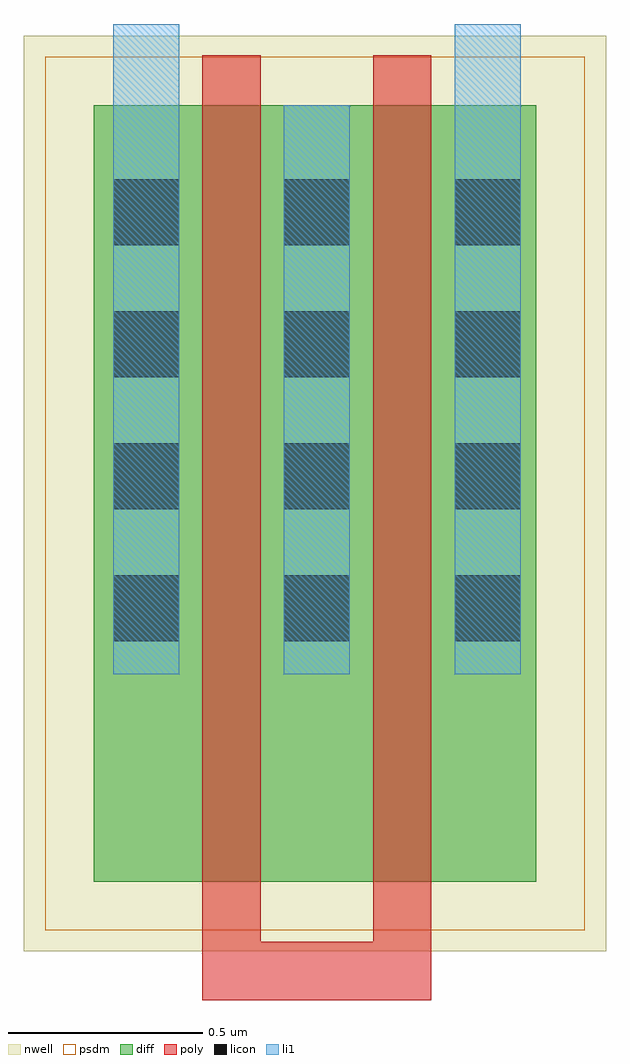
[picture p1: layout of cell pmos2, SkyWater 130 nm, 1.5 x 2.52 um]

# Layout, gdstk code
import gdstk
lib = gdstk.Library(unit=1e-6, precision=1e-09)
def R(c, l, rs):  # rectangles x0, y0, x1, y1
    for r in rs: c.add(gdstk.rectangle(r[:2], r[2:], *l))
nwell = (64, 20)
diff = (65, 20)
poly = (66, 20)
licon = (66, 44)
li1 = (67, 20)
psdm = (94, 20)

pmos2 = lib.new_cell('pmos2')
R(pmos2, nwell, [(0.26,-2.18,1.76,0.18), (0.26,-2.18,1.76,0.18), (0.26,-2.18,1.76,0.18), (0.26,-2.18,1.76,0.18), (0.26,-2.18,1.76,0.18), (0.26,-2.18,1.76,0.18), (0.26,-2.18,1.76,0.18), (0.26,-2.18,1.76,0.18), (0.26,-2.18,1.76,0.18), (0.26,-2.18,1.76,0.18), (0.26,-2.18,1.76,0.18), (0.26,-2.18,1.76,0.18), (0.26,-2.18,1.76,0.18), (0.26,-2.18,1.76,0.18), (0.26,-2.18,1.76,0.18), (0.26,-2.18,1.76,0.18), (0.26,-2.18,1.76,0.18), (0.26,-2.18,1.76,0.18), (0.26,-2.18,1.76,0.18), (0.26,-2.18,1.76,0.18), (0.26,-2.18,1.76,0.18), (0.26,-2.18,1.76,0.18), (0.26,-2.18,1.76,0.18), (0.26,-2.18,1.76,0.18), (0.26,-2.18,1.76,0.18), (0.26,-2.18,1.76,0.18), (0.26,-2.18,1.76,0.18), (0.26,-2.18,1.76,0.18), (0.26,-2.18,1.76,0.18), (0.26,-2.18,1.76,0.18), (0.26,-2.18,1.76,0.18), (0.26,-2.18,1.76,0.18), (0.26,-2.18,1.76,0.18), (0.26,-2.18,1.76,0.18), (0.26,-2.18,1.76,0.18), (0.26,-2.18,1.76,0.18), (0.26,-2.18,1.76,0.18), (0.26,-2.18,1.76,0.18), (0.26,-2.18,1.76,0.18), (0.26,-2.18,1.76,0.18), (0.26,-2.18,1.76,0.18), (0.26,-2.18,1.76,0.18), (0.26,-2.18,1.76,0.18), (0.26,-2.18,1.76,0.18), (0.26,-2.18,1.76,0.18), (0.26,-2.18,1.76,0.18), (0.26,-2.18,1.76,0.18), (0.26,-2.18,1.76,0.18), (0.26,-2.18,1.76,0.18), (0.26,-2.18,1.76,0.18), (0.26,-2.18,1.76,0.18), (0.26,-2.18,1.76,0.18), (0.26,-2.18,1.76,0.18), (0.26,-2.18,1.76,0.18), (0.26,-2.18,1.76,0.18), (0.26,-2.18,1.76,0.18), (0.26,-2.18,1.76,0.18), (0.26,-2.18,1.76,0.18), (0.26,-2.18,1.76,0.18), (0.26,-2.18,1.76,0.18), (0.26,-2.18,1.76,0.18), (0.26,-2.18,1.76,0.18), (0.26,-2.18,1.76,0.18)])
R(pmos2, diff, [(0.44,-2,1.58,0), (0.44,-2,1.58,0), (0.44,-2,1.58,0), (0.44,-2,1.58,0), (0.44,-2,1.58,0), (0.44,-2,1.58,0), (0.44,-2,1.58,0), (0.44,-2,1.58,0), (0.44,-2,1.58,0), (0.44,-2,1.58,0), (0.44,-2,1.58,0), (0.44,-2,1.58,0), (0.44,-2,1.58,0), (0.44,-2,1.58,0), (0.44,-2,1.58,0), (0.44,-2,1.58,0), (0.44,-2,1.58,0), (0.44,-2,1.58,0), (0.44,-2,1.58,0), (0.44,-2,1.58,0), (0.44,-2,1.58,0), (0.44,-2,1.58,0), (0.44,-2,1.58,0), (0.44,-2,1.58,0), (0.44,-2,1.58,0), (0.44,-2,1.58,0), (0.44,-2,1.58,0), (0.44,-2,1.58,0), (0.44,-2,1.58,0), (0.44,-2,1.58,0), (0.44,-2,1.58,0), (0.44,-2,1.58,0), (0.44,-2,1.58,0), (0.44,-2,1.58,0), (0.44,-2,1.58,0), (0.44,-2,1.58,0), (0.44,-2,1.58,0), (0.44,-2,1.58,0), (0.44,-2,1.58,0), (0.44,-2,1.58,0), (0.44,-2,1.58,0), (0.44,-2,1.58,0), (0.44,-2,1.58,0), (0.44,-2,1.58,0), (0.44,-2,1.58,0), (0.44,-2,1.58,0), (0.44,-2,1.58,0), (0.44,-2,1.58,0), (0.44,-2,1.58,0), (0.44,-2,1.58,0), (0.44,-2,1.58,0), (0.44,-2,1.58,0), (0.44,-2,1.58,0), (0.44,-2,1.58,0), (0.44,-2,1.58,0), (0.44,-2,1.58,0), (0.44,-2,1.58,0), (0.44,-2,1.58,0), (0.44,-2,1.58,0), (0.44,-2,1.58,0), (0.44,-2,1.58,0), (0.44,-2,1.58,0), (0.44,-2,1.58,0)])
R(pmos2, poly, [(0.72,-2.305,1.31,-2.155), (0.72,-2.305,1.31,-2.155), (0.72,-2.305,1.31,-2.155), (0.72,-2.305,1.31,-2.155), (0.72,-2.305,1.31,-2.155), (0.72,-2.305,1.31,-2.155), (0.72,-2.305,1.31,-2.155), (0.72,-2.305,1.31,-2.155), (0.72,-2.305,1.31,-2.155), (0.72,-2.305,1.31,-2.155), (0.72,-2.305,1.31,-2.155), (0.72,-2.305,1.31,-2.155), (0.72,-2.305,1.31,-2.155), (0.72,-2.305,1.31,-2.155), (0.72,-2.305,1.31,-2.155), (0.72,-2.305,1.31,-2.155), (0.72,-2.305,1.31,-2.155), (0.72,-2.305,1.31,-2.155), (0.72,-2.305,1.31,-2.155), (0.72,-2.305,1.31,-2.155), (0.72,-2.305,1.31,-2.155), (0.72,-2.305,1.31,-2.155), (0.72,-2.305,1.31,-2.155), (0.72,-2.305,1.31,-2.155), (0.72,-2.305,1.31,-2.155), (0.72,-2.305,1.31,-2.155), (0.72,-2.305,1.31,-2.155), (0.72,-2.305,1.31,-2.155), (0.72,-2.305,1.31,-2.155), (0.72,-2.305,1.31,-2.155), (0.72,-2.305,1.31,-2.155), (0.72,-2.305,1.31,-2.155), (0.72,-2.305,1.31,-2.155), (0.72,-2.305,1.31,-2.155), (0.72,-2.305,1.31,-2.155), (0.72,-2.305,1.31,-2.155), (0.72,-2.305,1.31,-2.155), (0.72,-2.305,1.31,-2.155), (0.72,-2.305,1.31,-2.155), (0.72,-2.305,1.31,-2.155), (0.72,-2.305,1.31,-2.155), (0.72,-2.305,1.31,-2.155), (0.72,-2.305,1.31,-2.155), (0.72,-2.305,1.31,-2.155), (0.72,-2.305,1.31,-2.155), (0.72,-2.305,1.31,-2.155), (0.72,-2.305,1.31,-2.155), (0.72,-2.305,1.31,-2.155), (0.72,-2.305,1.31,-2.155), (0.72,-2.305,1.31,-2.155), (0.72,-2.305,1.31,-2.155), (0.72,-2.305,1.31,-2.155), (0.72,-2.305,1.31,-2.155), (0.72,-2.305,1.31,-2.155), (0.72,-2.305,1.31,-2.155), (0.72,-2.305,1.31,-2.155), (0.72,-2.305,1.31,-2.155), (0.72,-2.305,1.31,-2.155), (0.72,-2.305,1.31,-2.155), (0.72,-2.305,1.31,-2.155), (0.72,-2.305,1.31,-2.155), (0.72,-2.305,1.31,-2.155), (0.72,-2.305,1.31,-2.155), (0.72,-2.155,0.87,0.13), (0.72,-2.155,0.87,0.13), (0.72,-2.155,0.87,0.13), (0.72,-2.155,0.87,0.13), (0.72,-2.155,0.87,0.13), (0.72,-2.155,0.87,0.13), (0.72,-2.155,0.87,0.13), (0.72,-2.155,0.87,0.13), (0.72,-2.155,0.87,0.13), (0.72,-2.155,0.87,0.13), (0.72,-2.155,0.87,0.13), (0.72,-2.155,0.87,0.13), (0.72,-2.155,0.87,0.13), (0.72,-2.155,0.87,0.13), (0.72,-2.155,0.87,0.13), (0.72,-2.155,0.87,0.13), (0.72,-2.155,0.87,0.13), (0.72,-2.155,0.87,0.13), (0.72,-2.155,0.87,0.13), (0.72,-2.155,0.87,0.13), (0.72,-2.155,0.87,0.13), (0.72,-2.155,0.87,0.13), (0.72,-2.155,0.87,0.13), (0.72,-2.155,0.87,0.13), (0.72,-2.155,0.87,0.13), (0.72,-2.155,0.87,0.13), (0.72,-2.155,0.87,0.13), (0.72,-2.155,0.87,0.13), (0.72,-2.155,0.87,0.13), (0.72,-2.155,0.87,0.13), (0.72,-2.155,0.87,0.13), (0.72,-2.155,0.87,0.13), (0.72,-2.155,0.87,0.13), (0.72,-2.155,0.87,0.13), (0.72,-2.155,0.87,0.13), (0.72,-2.155,0.87,0.13), (0.72,-2.155,0.87,0.13), (0.72,-2.155,0.87,0.13), (0.72,-2.155,0.87,0.13), (0.72,-2.155,0.87,0.13), (0.72,-2.155,0.87,0.13), (0.72,-2.155,0.87,0.13), (0.72,-2.155,0.87,0.13), (0.72,-2.155,0.87,0.13), (0.72,-2.155,0.87,0.13), (0.72,-2.155,0.87,0.13), (0.72,-2.155,0.87,0.13), (0.72,-2.155,0.87,0.13), (0.72,-2.155,0.87,0.13), (0.72,-2.155,0.87,0.13), (0.72,-2.155,0.87,0.13), (0.72,-2.155,0.87,0.13), (0.72,-2.155,0.87,0.13), (0.72,-2.155,0.87,0.13), (0.72,-2.155,0.87,0.13), (0.72,-2.155,0.87,0.13), (0.72,-2.155,0.87,0.13), (0.72,-2.155,0.87,0.13), (0.72,-2.155,0.87,0.13), (0.72,-2.155,0.87,0.13), (0.72,-2.155,0.87,0.13), (0.72,-2.155,0.87,0.13), (0.72,-2.155,0.87,0.13), (1.16,-2.155,1.31,0.13), (1.16,-2.155,1.31,0.13), (1.16,-2.155,1.31,0.13), (1.16,-2.155,1.31,0.13), (1.16,-2.155,1.31,0.13), (1.16,-2.155,1.31,0.13), (1.16,-2.155,1.31,0.13), (1.16,-2.155,1.31,0.13), (1.16,-2.155,1.31,0.13), (1.16,-2.155,1.31,0.13), (1.16,-2.155,1.31,0.13), (1.16,-2.155,1.31,0.13), (1.16,-2.155,1.31,0.13), (1.16,-2.155,1.31,0.13), (1.16,-2.155,1.31,0.13), (1.16,-2.155,1.31,0.13), (1.16,-2.155,1.31,0.13), (1.16,-2.155,1.31,0.13), (1.16,-2.155,1.31,0.13), (1.16,-2.155,1.31,0.13), (1.16,-2.155,1.31,0.13), (1.16,-2.155,1.31,0.13), (1.16,-2.155,1.31,0.13), (1.16,-2.155,1.31,0.13), (1.16,-2.155,1.31,0.13), (1.16,-2.155,1.31,0.13), (1.16,-2.155,1.31,0.13), (1.16,-2.155,1.31,0.13), (1.16,-2.155,1.31,0.13), (1.16,-2.155,1.31,0.13), (1.16,-2.155,1.31,0.13), (1.16,-2.155,1.31,0.13), (1.16,-2.155,1.31,0.13), (1.16,-2.155,1.31,0.13), (1.16,-2.155,1.31,0.13), (1.16,-2.155,1.31,0.13), (1.16,-2.155,1.31,0.13), (1.16,-2.155,1.31,0.13), (1.16,-2.155,1.31,0.13), (1.16,-2.155,1.31,0.13), (1.16,-2.155,1.31,0.13), (1.16,-2.155,1.31,0.13), (1.16,-2.155,1.31,0.13), (1.16,-2.155,1.31,0.13), (1.16,-2.155,1.31,0.13), (1.16,-2.155,1.31,0.13), (1.16,-2.155,1.31,0.13), (1.16,-2.155,1.31,0.13), (1.16,-2.155,1.31,0.13), (1.16,-2.155,1.31,0.13), (1.16,-2.155,1.31,0.13), (1.16,-2.155,1.31,0.13), (1.16,-2.155,1.31,0.13), (1.16,-2.155,1.31,0.13), (1.16,-2.155,1.31,0.13), (1.16,-2.155,1.31,0.13), (1.16,-2.155,1.31,0.13), (1.16,-2.155,1.31,0.13), (1.16,-2.155,1.31,0.13), (1.16,-2.155,1.31,0.13), (1.16,-2.155,1.31,0.13), (1.16,-2.155,1.31,0.13), (1.16,-2.155,1.31,0.13)])
R(pmos2, licon, [(0.49,-1.38,0.66,-1.21), (0.49,-1.38,0.66,-1.21), (0.49,-1.38,0.66,-1.21), (0.49,-1.38,0.66,-1.21), (0.49,-1.38,0.66,-1.21), (0.49,-1.38,0.66,-1.21), (0.49,-1.38,0.66,-1.21), (0.49,-1.38,0.66,-1.21), (0.49,-1.38,0.66,-1.21), (0.49,-1.38,0.66,-1.21), (0.49,-1.38,0.66,-1.21), (0.49,-1.38,0.66,-1.21), (0.49,-1.38,0.66,-1.21), (0.49,-1.38,0.66,-1.21), (0.49,-1.38,0.66,-1.21), (0.49,-1.38,0.66,-1.21), (0.49,-1.38,0.66,-1.21), (0.49,-1.38,0.66,-1.21), (0.49,-1.38,0.66,-1.21), (0.49,-1.38,0.66,-1.21), (0.49,-1.38,0.66,-1.21), (0.49,-1.38,0.66,-1.21), (0.49,-1.38,0.66,-1.21), (0.49,-1.38,0.66,-1.21), (0.49,-1.38,0.66,-1.21), (0.49,-1.38,0.66,-1.21), (0.49,-1.38,0.66,-1.21), (0.49,-1.38,0.66,-1.21), (0.49,-1.38,0.66,-1.21), (0.49,-1.38,0.66,-1.21), (0.49,-1.38,0.66,-1.21), (0.49,-1.38,0.66,-1.21), (0.49,-1.38,0.66,-1.21), (0.49,-1.38,0.66,-1.21), (0.49,-1.38,0.66,-1.21), (0.49,-1.38,0.66,-1.21), (0.49,-1.38,0.66,-1.21), (0.49,-1.38,0.66,-1.21), (0.49,-1.38,0.66,-1.21), (0.49,-1.38,0.66,-1.21), (0.49,-1.38,0.66,-1.21), (0.49,-1.38,0.66,-1.21), (0.49,-1.38,0.66,-1.21), (0.49,-1.38,0.66,-1.21), (0.49,-1.38,0.66,-1.21), (0.49,-1.38,0.66,-1.21), (0.49,-1.38,0.66,-1.21), (0.49,-1.38,0.66,-1.21), (0.49,-1.38,0.66,-1.21), (0.49,-1.38,0.66,-1.21), (0.49,-1.38,0.66,-1.21), (0.49,-1.38,0.66,-1.21), (0.49,-1.38,0.66,-1.21), (0.49,-1.38,0.66,-1.21), (0.49,-1.38,0.66,-1.21), (0.49,-1.38,0.66,-1.21), (0.49,-1.38,0.66,-1.21), (0.49,-1.38,0.66,-1.21), (0.49,-1.38,0.66,-1.21), (0.49,-1.38,0.66,-1.21), (0.49,-1.38,0.66,-1.21), (0.49,-1.38,0.66,-1.21), (0.49,-1.38,0.66,-1.21), (0.93,-1.38,1.1,-1.21), (0.93,-1.38,1.1,-1.21), (0.93,-1.38,1.1,-1.21), (0.93,-1.38,1.1,-1.21), (0.93,-1.38,1.1,-1.21), (0.93,-1.38,1.1,-1.21), (0.93,-1.38,1.1,-1.21), (0.93,-1.38,1.1,-1.21), (0.93,-1.38,1.1,-1.21), (0.93,-1.38,1.1,-1.21), (0.93,-1.38,1.1,-1.21), (0.93,-1.38,1.1,-1.21), (0.93,-1.38,1.1,-1.21), (0.93,-1.38,1.1,-1.21), (0.93,-1.38,1.1,-1.21), (0.93,-1.38,1.1,-1.21), (0.93,-1.38,1.1,-1.21), (0.93,-1.38,1.1,-1.21), (0.93,-1.38,1.1,-1.21), (0.93,-1.38,1.1,-1.21), (0.93,-1.38,1.1,-1.21), (0.93,-1.38,1.1,-1.21), (0.93,-1.38,1.1,-1.21), (0.93,-1.38,1.1,-1.21), (0.93,-1.38,1.1,-1.21), (0.93,-1.38,1.1,-1.21), (0.93,-1.38,1.1,-1.21), (0.93,-1.38,1.1,-1.21), (0.93,-1.38,1.1,-1.21), (0.93,-1.38,1.1,-1.21), (0.93,-1.38,1.1,-1.21), (0.93,-1.38,1.1,-1.21), (0.93,-1.38,1.1,-1.21), (0.93,-1.38,1.1,-1.21), (0.93,-1.38,1.1,-1.21), (0.93,-1.38,1.1,-1.21), (0.93,-1.38,1.1,-1.21), (0.93,-1.38,1.1,-1.21), (0.93,-1.38,1.1,-1.21), (0.93,-1.38,1.1,-1.21), (0.93,-1.38,1.1,-1.21), (0.93,-1.38,1.1,-1.21), (0.93,-1.38,1.1,-1.21), (0.93,-1.38,1.1,-1.21), (0.93,-1.38,1.1,-1.21), (0.93,-1.38,1.1,-1.21), (0.93,-1.38,1.1,-1.21), (0.93,-1.38,1.1,-1.21), (0.93,-1.38,1.1,-1.21), (0.93,-1.38,1.1,-1.21), (0.93,-1.38,1.1,-1.21), (0.93,-1.38,1.1,-1.21), (0.93,-1.38,1.1,-1.21), (0.93,-1.38,1.1,-1.21), (0.93,-1.38,1.1,-1.21), (0.93,-1.38,1.1,-1.21), (0.93,-1.38,1.1,-1.21), (0.93,-1.38,1.1,-1.21), (0.93,-1.38,1.1,-1.21), (0.93,-1.38,1.1,-1.21), (0.93,-1.38,1.1,-1.21), (0.93,-1.38,1.1,-1.21), (0.93,-1.38,1.1,-1.21), (1.37,-1.38,1.54,-1.21), (1.37,-1.38,1.54,-1.21), (1.37,-1.38,1.54,-1.21), (1.37,-1.38,1.54,-1.21), (1.37,-1.38,1.54,-1.21), (1.37,-1.38,1.54,-1.21), (1.37,-1.38,1.54,-1.21), (1.37,-1.38,1.54,-1.21), (1.37,-1.38,1.54,-1.21), (1.37,-1.38,1.54,-1.21), (1.37,-1.38,1.54,-1.21), (1.37,-1.38,1.54,-1.21), (1.37,-1.38,1.54,-1.21), (1.37,-1.38,1.54,-1.21), (1.37,-1.38,1.54,-1.21), (1.37,-1.38,1.54,-1.21), (1.37,-1.38,1.54,-1.21), (1.37,-1.38,1.54,-1.21), (1.37,-1.38,1.54,-1.21), (1.37,-1.38,1.54,-1.21), (1.37,-1.38,1.54,-1.21), (1.37,-1.38,1.54,-1.21), (1.37,-1.38,1.54,-1.21), (1.37,-1.38,1.54,-1.21), (1.37,-1.38,1.54,-1.21), (1.37,-1.38,1.54,-1.21), (1.37,-1.38,1.54,-1.21), (1.37,-1.38,1.54,-1.21), (1.37,-1.38,1.54,-1.21), (1.37,-1.38,1.54,-1.21), (1.37,-1.38,1.54,-1.21), (1.37,-1.38,1.54,-1.21), (1.37,-1.38,1.54,-1.21), (1.37,-1.38,1.54,-1.21), (1.37,-1.38,1.54,-1.21), (1.37,-1.38,1.54,-1.21), (1.37,-1.38,1.54,-1.21), (1.37,-1.38,1.54,-1.21), (1.37,-1.38,1.54,-1.21), (1.37,-1.38,1.54,-1.21), (1.37,-1.38,1.54,-1.21), (1.37,-1.38,1.54,-1.21), (1.37,-1.38,1.54,-1.21), (1.37,-1.38,1.54,-1.21), (1.37,-1.38,1.54,-1.21), (1.37,-1.38,1.54,-1.21), (1.37,-1.38,1.54,-1.21), (1.37,-1.38,1.54,-1.21), (1.37,-1.38,1.54,-1.21), (1.37,-1.38,1.54,-1.21), (1.37,-1.38,1.54,-1.21), (1.37,-1.38,1.54,-1.21), (1.37,-1.38,1.54,-1.21), (1.37,-1.38,1.54,-1.21), (1.37,-1.38,1.54,-1.21), (1.37,-1.38,1.54,-1.21), (1.37,-1.38,1.54,-1.21), (1.37,-1.38,1.54,-1.21), (1.37,-1.38,1.54,-1.21), (1.37,-1.38,1.54,-1.21), (1.37,-1.38,1.54,-1.21), (1.37,-1.38,1.54,-1.21), (1.37,-1.38,1.54,-1.21), (0.49,-1.04,0.66,-0.87), (0.49,-1.04,0.66,-0.87), (0.49,-1.04,0.66,-0.87), (0.49,-1.04,0.66,-0.87), (0.49,-1.04,0.66,-0.87), (0.49,-1.04,0.66,-0.87), (0.49,-1.04,0.66,-0.87), (0.49,-1.04,0.66,-0.87), (0.49,-1.04,0.66,-0.87), (0.49,-1.04,0.66,-0.87), (0.49,-1.04,0.66,-0.87), (0.49,-1.04,0.66,-0.87), (0.49,-1.04,0.66,-0.87), (0.49,-1.04,0.66,-0.87), (0.49,-1.04,0.66,-0.87), (0.49,-1.04,0.66,-0.87), (0.49,-1.04,0.66,-0.87), (0.49,-1.04,0.66,-0.87), (0.49,-1.04,0.66,-0.87), (0.49,-1.04,0.66,-0.87), (0.49,-1.04,0.66,-0.87), (0.49,-1.04,0.66,-0.87), (0.49,-1.04,0.66,-0.87), (0.49,-1.04,0.66,-0.87), (0.49,-1.04,0.66,-0.87), (0.49,-1.04,0.66,-0.87), (0.49,-1.04,0.66,-0.87), (0.49,-1.04,0.66,-0.87), (0.49,-1.04,0.66,-0.87), (0.49,-1.04,0.66,-0.87), (0.49,-1.04,0.66,-0.87), (0.49,-1.04,0.66,-0.87), (0.49,-1.04,0.66,-0.87), (0.49,-1.04,0.66,-0.87), (0.49,-1.04,0.66,-0.87), (0.49,-1.04,0.66,-0.87), (0.49,-1.04,0.66,-0.87), (0.49,-1.04,0.66,-0.87), (0.49,-1.04,0.66,-0.87), (0.49,-1.04,0.66,-0.87), (0.49,-1.04,0.66,-0.87), (0.49,-1.04,0.66,-0.87), (0.49,-1.04,0.66,-0.87), (0.49,-1.04,0.66,-0.87), (0.49,-1.04,0.66,-0.87), (0.49,-1.04,0.66,-0.87), (0.49,-1.04,0.66,-0.87), (0.49,-1.04,0.66,-0.87), (0.49,-1.04,0.66,-0.87), (0.49,-1.04,0.66,-0.87), (0.49,-1.04,0.66,-0.87), (0.49,-1.04,0.66,-0.87), (0.49,-1.04,0.66,-0.87), (0.49,-1.04,0.66,-0.87), (0.49,-1.04,0.66,-0.87), (0.49,-1.04,0.66,-0.87), (0.49,-1.04,0.66,-0.87), (0.49,-1.04,0.66,-0.87), (0.49,-1.04,0.66,-0.87), (0.49,-1.04,0.66,-0.87), (0.49,-1.04,0.66,-0.87), (0.49,-1.04,0.66,-0.87), (0.49,-1.04,0.66,-0.87), (0.93,-1.04,1.1,-0.87), (0.93,-1.04,1.1,-0.87), (0.93,-1.04,1.1,-0.87), (0.93,-1.04,1.1,-0.87), (0.93,-1.04,1.1,-0.87), (0.93,-1.04,1.1,-0.87), (0.93,-1.04,1.1,-0.87), (0.93,-1.04,1.1,-0.87), (0.93,-1.04,1.1,-0.87), (0.93,-1.04,1.1,-0.87), (0.93,-1.04,1.1,-0.87), (0.93,-1.04,1.1,-0.87), (0.93,-1.04,1.1,-0.87), (0.93,-1.04,1.1,-0.87), (0.93,-1.04,1.1,-0.87), (0.93,-1.04,1.1,-0.87), (0.93,-1.04,1.1,-0.87), (0.93,-1.04,1.1,-0.87), (0.93,-1.04,1.1,-0.87), (0.93,-1.04,1.1,-0.87), (0.93,-1.04,1.1,-0.87), (0.93,-1.04,1.1,-0.87), (0.93,-1.04,1.1,-0.87), (0.93,-1.04,1.1,-0.87), (0.93,-1.04,1.1,-0.87), (0.93,-1.04,1.1,-0.87), (0.93,-1.04,1.1,-0.87), (0.93,-1.04,1.1,-0.87), (0.93,-1.04,1.1,-0.87), (0.93,-1.04,1.1,-0.87), (0.93,-1.04,1.1,-0.87), (0.93,-1.04,1.1,-0.87), (0.93,-1.04,1.1,-0.87), (0.93,-1.04,1.1,-0.87), (0.93,-1.04,1.1,-0.87), (0.93,-1.04,1.1,-0.87), (0.93,-1.04,1.1,-0.87), (0.93,-1.04,1.1,-0.87), (0.93,-1.04,1.1,-0.87), (0.93,-1.04,1.1,-0.87), (0.93,-1.04,1.1,-0.87), (0.93,-1.04,1.1,-0.87), (0.93,-1.04,1.1,-0.87), (0.93,-1.04,1.1,-0.87), (0.93,-1.04,1.1,-0.87), (0.93,-1.04,1.1,-0.87), (0.93,-1.04,1.1,-0.87), (0.93,-1.04,1.1,-0.87), (0.93,-1.04,1.1,-0.87), (0.93,-1.04,1.1,-0.87), (0.93,-1.04,1.1,-0.87), (0.93,-1.04,1.1,-0.87), (0.93,-1.04,1.1,-0.87), (0.93,-1.04,1.1,-0.87), (0.93,-1.04,1.1,-0.87), (0.93,-1.04,1.1,-0.87), (0.93,-1.04,1.1,-0.87), (0.93,-1.04,1.1,-0.87), (0.93,-1.04,1.1,-0.87), (0.93,-1.04,1.1,-0.87), (0.93,-1.04,1.1,-0.87), (0.93,-1.04,1.1,-0.87), (0.93,-1.04,1.1,-0.87), (1.37,-1.04,1.54,-0.87), (1.37,-1.04,1.54,-0.87), (1.37,-1.04,1.54,-0.87), (1.37,-1.04,1.54,-0.87), (1.37,-1.04,1.54,-0.87), (1.37,-1.04,1.54,-0.87), (1.37,-1.04,1.54,-0.87), (1.37,-1.04,1.54,-0.87), (1.37,-1.04,1.54,-0.87), (1.37,-1.04,1.54,-0.87), (1.37,-1.04,1.54,-0.87), (1.37,-1.04,1.54,-0.87), (1.37,-1.04,1.54,-0.87), (1.37,-1.04,1.54,-0.87), (1.37,-1.04,1.54,-0.87), (1.37,-1.04,1.54,-0.87), (1.37,-1.04,1.54,-0.87), (1.37,-1.04,1.54,-0.87), (1.37,-1.04,1.54,-0.87), (1.37,-1.04,1.54,-0.87), (1.37,-1.04,1.54,-0.87), (1.37,-1.04,1.54,-0.87), (1.37,-1.04,1.54,-0.87), (1.37,-1.04,1.54,-0.87), (1.37,-1.04,1.54,-0.87), (1.37,-1.04,1.54,-0.87), (1.37,-1.04,1.54,-0.87), (1.37,-1.04,1.54,-0.87), (1.37,-1.04,1.54,-0.87), (1.37,-1.04,1.54,-0.87), (1.37,-1.04,1.54,-0.87), (1.37,-1.04,1.54,-0.87), (1.37,-1.04,1.54,-0.87), (1.37,-1.04,1.54,-0.87), (1.37,-1.04,1.54,-0.87), (1.37,-1.04,1.54,-0.87), (1.37,-1.04,1.54,-0.87), (1.37,-1.04,1.54,-0.87), (1.37,-1.04,1.54,-0.87), (1.37,-1.04,1.54,-0.87), (1.37,-1.04,1.54,-0.87), (1.37,-1.04,1.54,-0.87), (1.37,-1.04,1.54,-0.87), (1.37,-1.04,1.54,-0.87), (1.37,-1.04,1.54,-0.87), (1.37,-1.04,1.54,-0.87), (1.37,-1.04,1.54,-0.87), (1.37,-1.04,1.54,-0.87), (1.37,-1.04,1.54,-0.87), (1.37,-1.04,1.54,-0.87), (1.37,-1.04,1.54,-0.87), (1.37,-1.04,1.54,-0.87), (1.37,-1.04,1.54,-0.87), (1.37,-1.04,1.54,-0.87), (1.37,-1.04,1.54,-0.87), (1.37,-1.04,1.54,-0.87), (1.37,-1.04,1.54,-0.87), (1.37,-1.04,1.54,-0.87), (1.37,-1.04,1.54,-0.87), (1.37,-1.04,1.54,-0.87), (1.37,-1.04,1.54,-0.87), (1.37,-1.04,1.54,-0.87), (1.37,-1.04,1.54,-0.87), (0.49,-0.7,0.66,-0.53), (0.49,-0.7,0.66,-0.53), (0.49,-0.7,0.66,-0.53), (0.49,-0.7,0.66,-0.53), (0.49,-0.7,0.66,-0.53), (0.49,-0.7,0.66,-0.53), (0.49,-0.7,0.66,-0.53), (0.49,-0.7,0.66,-0.53), (0.49,-0.7,0.66,-0.53), (0.49,-0.7,0.66,-0.53), (0.49,-0.7,0.66,-0.53), (0.49,-0.7,0.66,-0.53), (0.49,-0.7,0.66,-0.53), (0.49,-0.7,0.66,-0.53), (0.49,-0.7,0.66,-0.53), (0.49,-0.7,0.66,-0.53), (0.49,-0.7,0.66,-0.53), (0.49,-0.7,0.66,-0.53), (0.49,-0.7,0.66,-0.53), (0.49,-0.7,0.66,-0.53), (0.49,-0.7,0.66,-0.53), (0.49,-0.7,0.66,-0.53), (0.49,-0.7,0.66,-0.53), (0.49,-0.7,0.66,-0.53), (0.49,-0.7,0.66,-0.53), (0.49,-0.7,0.66,-0.53), (0.49,-0.7,0.66,-0.53), (0.49,-0.7,0.66,-0.53), (0.49,-0.7,0.66,-0.53), (0.49,-0.7,0.66,-0.53), (0.49,-0.7,0.66,-0.53), (0.49,-0.7,0.66,-0.53), (0.49,-0.7,0.66,-0.53), (0.49,-0.7,0.66,-0.53), (0.49,-0.7,0.66,-0.53), (0.49,-0.7,0.66,-0.53), (0.49,-0.7,0.66,-0.53), (0.49,-0.7,0.66,-0.53), (0.49,-0.7,0.66,-0.53), (0.49,-0.7,0.66,-0.53), (0.49,-0.7,0.66,-0.53), (0.49,-0.7,0.66,-0.53), (0.49,-0.7,0.66,-0.53), (0.49,-0.7,0.66,-0.53), (0.49,-0.7,0.66,-0.53), (0.49,-0.7,0.66,-0.53), (0.49,-0.7,0.66,-0.53), (0.49,-0.7,0.66,-0.53), (0.49,-0.7,0.66,-0.53), (0.49,-0.7,0.66,-0.53), (0.49,-0.7,0.66,-0.53), (0.49,-0.7,0.66,-0.53), (0.49,-0.7,0.66,-0.53), (0.49,-0.7,0.66,-0.53), (0.49,-0.7,0.66,-0.53), (0.49,-0.7,0.66,-0.53), (0.49,-0.7,0.66,-0.53), (0.49,-0.7,0.66,-0.53), (0.49,-0.7,0.66,-0.53), (0.49,-0.7,0.66,-0.53), (0.49,-0.7,0.66,-0.53), (0.49,-0.7,0.66,-0.53), (0.49,-0.7,0.66,-0.53), (0.93,-0.7,1.1,-0.53), (0.93,-0.7,1.1,-0.53), (0.93,-0.7,1.1,-0.53), (0.93,-0.7,1.1,-0.53), (0.93,-0.7,1.1,-0.53), (0.93,-0.7,1.1,-0.53), (0.93,-0.7,1.1,-0.53), (0.93,-0.7,1.1,-0.53), (0.93,-0.7,1.1,-0.53), (0.93,-0.7,1.1,-0.53), (0.93,-0.7,1.1,-0.53), (0.93,-0.7,1.1,-0.53), (0.93,-0.7,1.1,-0.53), (0.93,-0.7,1.1,-0.53), (0.93,-0.7,1.1,-0.53), (0.93,-0.7,1.1,-0.53), (0.93,-0.7,1.1,-0.53), (0.93,-0.7,1.1,-0.53), (0.93,-0.7,1.1,-0.53), (0.93,-0.7,1.1,-0.53), (0.93,-0.7,1.1,-0.53), (0.93,-0.7,1.1,-0.53), (0.93,-0.7,1.1,-0.53), (0.93,-0.7,1.1,-0.53), (0.93,-0.7,1.1,-0.53), (0.93,-0.7,1.1,-0.53), (0.93,-0.7,1.1,-0.53), (0.93,-0.7,1.1,-0.53), (0.93,-0.7,1.1,-0.53), (0.93,-0.7,1.1,-0.53), (0.93,-0.7,1.1,-0.53), (0.93,-0.7,1.1,-0.53), (0.93,-0.7,1.1,-0.53), (0.93,-0.7,1.1,-0.53), (0.93,-0.7,1.1,-0.53), (0.93,-0.7,1.1,-0.53), (0.93,-0.7,1.1,-0.53), (0.93,-0.7,1.1,-0.53), (0.93,-0.7,1.1,-0.53), (0.93,-0.7,1.1,-0.53), (0.93,-0.7,1.1,-0.53), (0.93,-0.7,1.1,-0.53), (0.93,-0.7,1.1,-0.53), (0.93,-0.7,1.1,-0.53), (0.93,-0.7,1.1,-0.53), (0.93,-0.7,1.1,-0.53), (0.93,-0.7,1.1,-0.53), (0.93,-0.7,1.1,-0.53), (0.93,-0.7,1.1,-0.53), (0.93,-0.7,1.1,-0.53), (0.93,-0.7,1.1,-0.53), (0.93,-0.7,1.1,-0.53), (0.93,-0.7,1.1,-0.53), (0.93,-0.7,1.1,-0.53), (0.93,-0.7,1.1,-0.53), (0.93,-0.7,1.1,-0.53), (0.93,-0.7,1.1,-0.53), (0.93,-0.7,1.1,-0.53), (0.93,-0.7,1.1,-0.53), (0.93,-0.7,1.1,-0.53), (0.93,-0.7,1.1,-0.53), (0.93,-0.7,1.1,-0.53), (0.93,-0.7,1.1,-0.53), (1.37,-0.7,1.54,-0.53), (1.37,-0.7,1.54,-0.53), (1.37,-0.7,1.54,-0.53), (1.37,-0.7,1.54,-0.53), (1.37,-0.7,1.54,-0.53), (1.37,-0.7,1.54,-0.53), (1.37,-0.7,1.54,-0.53), (1.37,-0.7,1.54,-0.53), (1.37,-0.7,1.54,-0.53), (1.37,-0.7,1.54,-0.53), (1.37,-0.7,1.54,-0.53), (1.37,-0.7,1.54,-0.53), (1.37,-0.7,1.54,-0.53), (1.37,-0.7,1.54,-0.53), (1.37,-0.7,1.54,-0.53), (1.37,-0.7,1.54,-0.53), (1.37,-0.7,1.54,-0.53), (1.37,-0.7,1.54,-0.53), (1.37,-0.7,1.54,-0.53), (1.37,-0.7,1.54,-0.53), (1.37,-0.7,1.54,-0.53), (1.37,-0.7,1.54,-0.53), (1.37,-0.7,1.54,-0.53), (1.37,-0.7,1.54,-0.53), (1.37,-0.7,1.54,-0.53), (1.37,-0.7,1.54,-0.53), (1.37,-0.7,1.54,-0.53), (1.37,-0.7,1.54,-0.53), (1.37,-0.7,1.54,-0.53), (1.37,-0.7,1.54,-0.53), (1.37,-0.7,1.54,-0.53), (1.37,-0.7,1.54,-0.53), (1.37,-0.7,1.54,-0.53), (1.37,-0.7,1.54,-0.53), (1.37,-0.7,1.54,-0.53), (1.37,-0.7,1.54,-0.53), (1.37,-0.7,1.54,-0.53), (1.37,-0.7,1.54,-0.53), (1.37,-0.7,1.54,-0.53), (1.37,-0.7,1.54,-0.53), (1.37,-0.7,1.54,-0.53), (1.37,-0.7,1.54,-0.53), (1.37,-0.7,1.54,-0.53), (1.37,-0.7,1.54,-0.53), (1.37,-0.7,1.54,-0.53), (1.37,-0.7,1.54,-0.53), (1.37,-0.7,1.54,-0.53), (1.37,-0.7,1.54,-0.53), (1.37,-0.7,1.54,-0.53), (1.37,-0.7,1.54,-0.53), (1.37,-0.7,1.54,-0.53), (1.37,-0.7,1.54,-0.53), (1.37,-0.7,1.54,-0.53), (1.37,-0.7,1.54,-0.53), (1.37,-0.7,1.54,-0.53), (1.37,-0.7,1.54,-0.53), (1.37,-0.7,1.54,-0.53), (1.37,-0.7,1.54,-0.53), (1.37,-0.7,1.54,-0.53), (1.37,-0.7,1.54,-0.53), (1.37,-0.7,1.54,-0.53), (1.37,-0.7,1.54,-0.53), (1.37,-0.7,1.54,-0.53), (0.49,-0.36,0.66,-0.19), (0.49,-0.36,0.66,-0.19), (0.49,-0.36,0.66,-0.19), (0.49,-0.36,0.66,-0.19), (0.49,-0.36,0.66,-0.19), (0.49,-0.36,0.66,-0.19), (0.49,-0.36,0.66,-0.19), (0.49,-0.36,0.66,-0.19), (0.49,-0.36,0.66,-0.19), (0.49,-0.36,0.66,-0.19), (0.49,-0.36,0.66,-0.19), (0.49,-0.36,0.66,-0.19), (0.49,-0.36,0.66,-0.19), (0.49,-0.36,0.66,-0.19), (0.49,-0.36,0.66,-0.19), (0.49,-0.36,0.66,-0.19), (0.49,-0.36,0.66,-0.19), (0.49,-0.36,0.66,-0.19), (0.49,-0.36,0.66,-0.19), (0.49,-0.36,0.66,-0.19), (0.49,-0.36,0.66,-0.19), (0.49,-0.36,0.66,-0.19), (0.49,-0.36,0.66,-0.19), (0.49,-0.36,0.66,-0.19), (0.49,-0.36,0.66,-0.19), (0.49,-0.36,0.66,-0.19), (0.49,-0.36,0.66,-0.19), (0.49,-0.36,0.66,-0.19), (0.49,-0.36,0.66,-0.19), (0.49,-0.36,0.66,-0.19), (0.49,-0.36,0.66,-0.19), (0.49,-0.36,0.66,-0.19), (0.49,-0.36,0.66,-0.19), (0.49,-0.36,0.66,-0.19), (0.49,-0.36,0.66,-0.19), (0.49,-0.36,0.66,-0.19), (0.49,-0.36,0.66,-0.19), (0.49,-0.36,0.66,-0.19), (0.49,-0.36,0.66,-0.19), (0.49,-0.36,0.66,-0.19), (0.49,-0.36,0.66,-0.19), (0.49,-0.36,0.66,-0.19), (0.49,-0.36,0.66,-0.19), (0.49,-0.36,0.66,-0.19), (0.49,-0.36,0.66,-0.19), (0.49,-0.36,0.66,-0.19), (0.49,-0.36,0.66,-0.19), (0.49,-0.36,0.66,-0.19), (0.49,-0.36,0.66,-0.19), (0.49,-0.36,0.66,-0.19), (0.49,-0.36,0.66,-0.19), (0.49,-0.36,0.66,-0.19), (0.49,-0.36,0.66,-0.19), (0.49,-0.36,0.66,-0.19), (0.49,-0.36,0.66,-0.19), (0.49,-0.36,0.66,-0.19), (0.49,-0.36,0.66,-0.19), (0.49,-0.36,0.66,-0.19), (0.49,-0.36,0.66,-0.19), (0.49,-0.36,0.66,-0.19), (0.49,-0.36,0.66,-0.19), (0.49,-0.36,0.66,-0.19), (0.49,-0.36,0.66,-0.19), (0.93,-0.36,1.1,-0.19), (0.93,-0.36,1.1,-0.19), (0.93,-0.36,1.1,-0.19), (0.93,-0.36,1.1,-0.19), (0.93,-0.36,1.1,-0.19), (0.93,-0.36,1.1,-0.19), (0.93,-0.36,1.1,-0.19), (0.93,-0.36,1.1,-0.19), (0.93,-0.36,1.1,-0.19), (0.93,-0.36,1.1,-0.19), (0.93,-0.36,1.1,-0.19), (0.93,-0.36,1.1,-0.19), (0.93,-0.36,1.1,-0.19), (0.93,-0.36,1.1,-0.19), (0.93,-0.36,1.1,-0.19), (0.93,-0.36,1.1,-0.19), (0.93,-0.36,1.1,-0.19), (0.93,-0.36,1.1,-0.19), (0.93,-0.36,1.1,-0.19), (0.93,-0.36,1.1,-0.19), (0.93,-0.36,1.1,-0.19), (0.93,-0.36,1.1,-0.19), (0.93,-0.36,1.1,-0.19), (0.93,-0.36,1.1,-0.19), (0.93,-0.36,1.1,-0.19), (0.93,-0.36,1.1,-0.19), (0.93,-0.36,1.1,-0.19), (0.93,-0.36,1.1,-0.19), (0.93,-0.36,1.1,-0.19), (0.93,-0.36,1.1,-0.19), (0.93,-0.36,1.1,-0.19), (0.93,-0.36,1.1,-0.19), (0.93,-0.36,1.1,-0.19), (0.93,-0.36,1.1,-0.19), (0.93,-0.36,1.1,-0.19), (0.93,-0.36,1.1,-0.19), (0.93,-0.36,1.1,-0.19), (0.93,-0.36,1.1,-0.19), (0.93,-0.36,1.1,-0.19), (0.93,-0.36,1.1,-0.19), (0.93,-0.36,1.1,-0.19), (0.93,-0.36,1.1,-0.19), (0.93,-0.36,1.1,-0.19), (0.93,-0.36,1.1,-0.19), (0.93,-0.36,1.1,-0.19), (0.93,-0.36,1.1,-0.19), (0.93,-0.36,1.1,-0.19), (0.93,-0.36,1.1,-0.19), (0.93,-0.36,1.1,-0.19), (0.93,-0.36,1.1,-0.19), (0.93,-0.36,1.1,-0.19), (0.93,-0.36,1.1,-0.19), (0.93,-0.36,1.1,-0.19), (0.93,-0.36,1.1,-0.19), (0.93,-0.36,1.1,-0.19), (0.93,-0.36,1.1,-0.19), (0.93,-0.36,1.1,-0.19), (0.93,-0.36,1.1,-0.19), (0.93,-0.36,1.1,-0.19), (0.93,-0.36,1.1,-0.19), (0.93,-0.36,1.1,-0.19), (0.93,-0.36,1.1,-0.19), (0.93,-0.36,1.1,-0.19), (1.37,-0.36,1.54,-0.19), (1.37,-0.36,1.54,-0.19), (1.37,-0.36,1.54,-0.19), (1.37,-0.36,1.54,-0.19), (1.37,-0.36,1.54,-0.19), (1.37,-0.36,1.54,-0.19), (1.37,-0.36,1.54,-0.19), (1.37,-0.36,1.54,-0.19), (1.37,-0.36,1.54,-0.19), (1.37,-0.36,1.54,-0.19), (1.37,-0.36,1.54,-0.19), (1.37,-0.36,1.54,-0.19), (1.37,-0.36,1.54,-0.19), (1.37,-0.36,1.54,-0.19), (1.37,-0.36,1.54,-0.19), (1.37,-0.36,1.54,-0.19), (1.37,-0.36,1.54,-0.19), (1.37,-0.36,1.54,-0.19), (1.37,-0.36,1.54,-0.19), (1.37,-0.36,1.54,-0.19), (1.37,-0.36,1.54,-0.19), (1.37,-0.36,1.54,-0.19), (1.37,-0.36,1.54,-0.19), (1.37,-0.36,1.54,-0.19), (1.37,-0.36,1.54,-0.19), (1.37,-0.36,1.54,-0.19), (1.37,-0.36,1.54,-0.19), (1.37,-0.36,1.54,-0.19), (1.37,-0.36,1.54,-0.19), (1.37,-0.36,1.54,-0.19), (1.37,-0.36,1.54,-0.19), (1.37,-0.36,1.54,-0.19), (1.37,-0.36,1.54,-0.19), (1.37,-0.36,1.54,-0.19), (1.37,-0.36,1.54,-0.19), (1.37,-0.36,1.54,-0.19), (1.37,-0.36,1.54,-0.19), (1.37,-0.36,1.54,-0.19), (1.37,-0.36,1.54,-0.19), (1.37,-0.36,1.54,-0.19), (1.37,-0.36,1.54,-0.19), (1.37,-0.36,1.54,-0.19), (1.37,-0.36,1.54,-0.19), (1.37,-0.36,1.54,-0.19), (1.37,-0.36,1.54,-0.19), (1.37,-0.36,1.54,-0.19), (1.37,-0.36,1.54,-0.19), (1.37,-0.36,1.54,-0.19), (1.37,-0.36,1.54,-0.19), (1.37,-0.36,1.54,-0.19), (1.37,-0.36,1.54,-0.19), (1.37,-0.36,1.54,-0.19), (1.37,-0.36,1.54,-0.19), (1.37,-0.36,1.54,-0.19), (1.37,-0.36,1.54,-0.19), (1.37,-0.36,1.54,-0.19), (1.37,-0.36,1.54,-0.19), (1.37,-0.36,1.54,-0.19), (1.37,-0.36,1.54,-0.19), (1.37,-0.36,1.54,-0.19), (1.37,-0.36,1.54,-0.19), (1.37,-0.36,1.54,-0.19), (1.37,-0.36,1.54,-0.19)])
R(pmos2, li1, [(0.49,-1.465,0.66,0.21), (0.49,-1.465,0.66,0.21), (0.49,-1.465,0.66,0.21), (0.49,-1.465,0.66,0.21), (0.49,-1.465,0.66,0.21), (0.49,-1.465,0.66,0.21), (0.49,-1.465,0.66,0.21), (0.49,-1.465,0.66,0.21), (0.49,-1.465,0.66,0.21), (0.49,-1.465,0.66,0.21), (0.49,-1.465,0.66,0.21), (0.49,-1.465,0.66,0.21), (0.49,-1.465,0.66,0.21), (0.49,-1.465,0.66,0.21), (0.49,-1.465,0.66,0.21), (0.49,-1.465,0.66,0.21), (0.49,-1.465,0.66,0.21), (0.49,-1.465,0.66,0.21), (0.49,-1.465,0.66,0.21), (0.49,-1.465,0.66,0.21), (0.49,-1.465,0.66,0.21), (0.49,-1.465,0.66,0.21), (0.49,-1.465,0.66,0.21), (0.49,-1.465,0.66,0.21), (0.49,-1.465,0.66,0.21), (0.49,-1.465,0.66,0.21), (0.49,-1.465,0.66,0.21), (0.49,-1.465,0.66,0.21), (0.49,-1.465,0.66,0.21), (0.49,-1.465,0.66,0.21), (0.49,-1.465,0.66,0.21), (0.49,-1.465,0.66,0.21), (0.49,-1.465,0.66,0.21), (0.49,-1.465,0.66,0.21), (0.49,-1.465,0.66,0.21), (0.49,-1.465,0.66,0.21), (0.49,-1.465,0.66,0.21), (0.49,-1.465,0.66,0.21), (0.49,-1.465,0.66,0.21), (0.49,-1.465,0.66,0.21), (0.49,-1.465,0.66,0.21), (0.49,-1.465,0.66,0.21), (0.49,-1.465,0.66,0.21), (0.49,-1.465,0.66,0.21), (0.49,-1.465,0.66,0.21), (0.49,-1.465,0.66,0.21), (0.49,-1.465,0.66,0.21), (0.49,-1.465,0.66,0.21), (0.49,-1.465,0.66,0.21), (0.49,-1.465,0.66,0.21), (0.49,-1.465,0.66,0.21), (0.49,-1.465,0.66,0.21), (0.49,-1.465,0.66,0.21), (0.49,-1.465,0.66,0.21), (0.49,-1.465,0.66,0.21), (0.49,-1.465,0.66,0.21), (0.49,-1.465,0.66,0.21), (0.49,-1.465,0.66,0.21), (0.49,-1.465,0.66,0.21), (0.49,-1.465,0.66,0.21), (0.49,-1.465,0.66,0.21), (0.49,-1.465,0.66,0.21), (0.49,-1.465,0.66,0.21), (0.93,-1.465,1.1,0), (0.93,-1.465,1.1,0), (0.93,-1.465,1.1,0), (0.93,-1.465,1.1,0), (0.93,-1.465,1.1,0), (0.93,-1.465,1.1,0), (0.93,-1.465,1.1,0), (0.93,-1.465,1.1,0), (0.93,-1.465,1.1,0), (0.93,-1.465,1.1,0), (0.93,-1.465,1.1,0), (0.93,-1.465,1.1,0), (0.93,-1.465,1.1,0), (0.93,-1.465,1.1,0), (0.93,-1.465,1.1,0), (0.93,-1.465,1.1,0), (0.93,-1.465,1.1,0), (0.93,-1.465,1.1,0), (0.93,-1.465,1.1,0), (0.93,-1.465,1.1,0), (0.93,-1.465,1.1,0), (0.93,-1.465,1.1,0), (0.93,-1.465,1.1,0), (0.93,-1.465,1.1,0), (0.93,-1.465,1.1,0), (0.93,-1.465,1.1,0), (0.93,-1.465,1.1,0), (0.93,-1.465,1.1,0), (0.93,-1.465,1.1,0), (0.93,-1.465,1.1,0), (0.93,-1.465,1.1,0), (0.93,-1.465,1.1,0), (0.93,-1.465,1.1,0), (0.93,-1.465,1.1,0), (0.93,-1.465,1.1,0), (0.93,-1.465,1.1,0), (0.93,-1.465,1.1,0), (0.93,-1.465,1.1,0), (0.93,-1.465,1.1,0), (0.93,-1.465,1.1,0), (0.93,-1.465,1.1,0), (0.93,-1.465,1.1,0), (0.93,-1.465,1.1,0), (0.93,-1.465,1.1,0), (0.93,-1.465,1.1,0), (0.93,-1.465,1.1,0), (0.93,-1.465,1.1,0), (0.93,-1.465,1.1,0), (0.93,-1.465,1.1,0), (0.93,-1.465,1.1,0), (0.93,-1.465,1.1,0), (0.93,-1.465,1.1,0), (0.93,-1.465,1.1,0), (0.93,-1.465,1.1,0), (0.93,-1.465,1.1,0), (0.93,-1.465,1.1,0), (0.93,-1.465,1.1,0), (0.93,-1.465,1.1,0), (0.93,-1.465,1.1,0), (0.93,-1.465,1.1,0), (0.93,-1.465,1.1,0), (0.93,-1.465,1.1,0), (0.93,-1.465,1.1,0), (1.37,-1.465,1.54,0.21), (1.37,-1.465,1.54,0.21), (1.37,-1.465,1.54,0.21), (1.37,-1.465,1.54,0.21), (1.37,-1.465,1.54,0.21), (1.37,-1.465,1.54,0.21), (1.37,-1.465,1.54,0.21), (1.37,-1.465,1.54,0.21), (1.37,-1.465,1.54,0.21), (1.37,-1.465,1.54,0.21), (1.37,-1.465,1.54,0.21), (1.37,-1.465,1.54,0.21), (1.37,-1.465,1.54,0.21), (1.37,-1.465,1.54,0.21), (1.37,-1.465,1.54,0.21), (1.37,-1.465,1.54,0.21), (1.37,-1.465,1.54,0.21), (1.37,-1.465,1.54,0.21), (1.37,-1.465,1.54,0.21), (1.37,-1.465,1.54,0.21), (1.37,-1.465,1.54,0.21), (1.37,-1.465,1.54,0.21), (1.37,-1.465,1.54,0.21), (1.37,-1.465,1.54,0.21), (1.37,-1.465,1.54,0.21), (1.37,-1.465,1.54,0.21), (1.37,-1.465,1.54,0.21), (1.37,-1.465,1.54,0.21), (1.37,-1.465,1.54,0.21), (1.37,-1.465,1.54,0.21), (1.37,-1.465,1.54,0.21), (1.37,-1.465,1.54,0.21), (1.37,-1.465,1.54,0.21), (1.37,-1.465,1.54,0.21), (1.37,-1.465,1.54,0.21), (1.37,-1.465,1.54,0.21), (1.37,-1.465,1.54,0.21), (1.37,-1.465,1.54,0.21), (1.37,-1.465,1.54,0.21), (1.37,-1.465,1.54,0.21), (1.37,-1.465,1.54,0.21), (1.37,-1.465,1.54,0.21), (1.37,-1.465,1.54,0.21), (1.37,-1.465,1.54,0.21), (1.37,-1.465,1.54,0.21), (1.37,-1.465,1.54,0.21), (1.37,-1.465,1.54,0.21), (1.37,-1.465,1.54,0.21), (1.37,-1.465,1.54,0.21), (1.37,-1.465,1.54,0.21), (1.37,-1.465,1.54,0.21), (1.37,-1.465,1.54,0.21), (1.37,-1.465,1.54,0.21), (1.37,-1.465,1.54,0.21), (1.37,-1.465,1.54,0.21), (1.37,-1.465,1.54,0.21), (1.37,-1.465,1.54,0.21), (1.37,-1.465,1.54,0.21), (1.37,-1.465,1.54,0.21), (1.37,-1.465,1.54,0.21), (1.37,-1.465,1.54,0.21), (1.37,-1.465,1.54,0.21), (1.37,-1.465,1.54,0.21)])
R(pmos2, psdm, [(0.315,-2.125,1.705,0.125), (0.315,-2.125,1.705,0.125), (0.315,-2.125,1.705,0.125), (0.315,-2.125,1.705,0.125), (0.315,-2.125,1.705,0.125), (0.315,-2.125,1.705,0.125), (0.315,-2.125,1.705,0.125), (0.315,-2.125,1.705,0.125), (0.315,-2.125,1.705,0.125), (0.315,-2.125,1.705,0.125), (0.315,-2.125,1.705,0.125), (0.315,-2.125,1.705,0.125), (0.315,-2.125,1.705,0.125), (0.315,-2.125,1.705,0.125), (0.315,-2.125,1.705,0.125), (0.315,-2.125,1.705,0.125), (0.315,-2.125,1.705,0.125), (0.315,-2.125,1.705,0.125), (0.315,-2.125,1.705,0.125), (0.315,-2.125,1.705,0.125), (0.315,-2.125,1.705,0.125), (0.315,-2.125,1.705,0.125), (0.315,-2.125,1.705,0.125), (0.315,-2.125,1.705,0.125), (0.315,-2.125,1.705,0.125), (0.315,-2.125,1.705,0.125), (0.315,-2.125,1.705,0.125), (0.315,-2.125,1.705,0.125), (0.315,-2.125,1.705,0.125), (0.315,-2.125,1.705,0.125), (0.315,-2.125,1.705,0.125), (0.315,-2.125,1.705,0.125), (0.315,-2.125,1.705,0.125), (0.315,-2.125,1.705,0.125), (0.315,-2.125,1.705,0.125), (0.315,-2.125,1.705,0.125), (0.315,-2.125,1.705,0.125), (0.315,-2.125,1.705,0.125), (0.315,-2.125,1.705,0.125), (0.315,-2.125,1.705,0.125), (0.315,-2.125,1.705,0.125), (0.315,-2.125,1.705,0.125), (0.315,-2.125,1.705,0.125), (0.315,-2.125,1.705,0.125), (0.315,-2.125,1.705,0.125), (0.315,-2.125,1.705,0.125), (0.315,-2.125,1.705,0.125), (0.315,-2.125,1.705,0.125), (0.315,-2.125,1.705,0.125), (0.315,-2.125,1.705,0.125), (0.315,-2.125,1.705,0.125), (0.315,-2.125,1.705,0.125), (0.315,-2.125,1.705,0.125), (0.315,-2.125,1.705,0.125), (0.315,-2.125,1.705,0.125), (0.315,-2.125,1.705,0.125), (0.315,-2.125,1.705,0.125), (0.315,-2.125,1.705,0.125), (0.315,-2.125,1.705,0.125), (0.315,-2.125,1.705,0.125), (0.315,-2.125,1.705,0.125), (0.315,-2.125,1.705,0.125), (0.315,-2.125,1.705,0.125)])

lib.write_gds('pmos2.gds')
